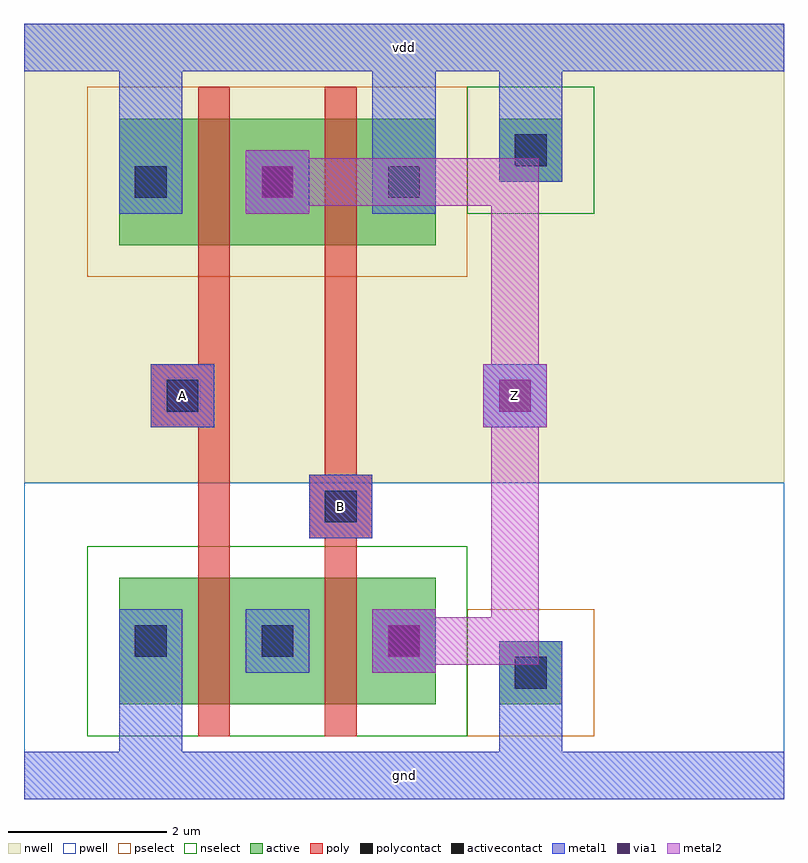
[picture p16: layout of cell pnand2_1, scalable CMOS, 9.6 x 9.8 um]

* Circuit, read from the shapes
.subckt pnand2_1 A B Z gnd vdd
M1 nmos_m1_w1_6_a_p_2/D A gnd gnd nfet w=1.6u l=0.4u
M2 Z B nmos_m1_w1_6_a_p_2/D gnd nfet w=1.6u l=0.4u
M3 Z A vdd vdd pfet w=1.6u l=0.4u
M4 vdd B Z vdd pfet w=1.6u l=0.4u
.ends

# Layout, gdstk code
from math import pi, radians
import gdstk
lib = gdstk.Library(unit=1e-6, precision=1e-09)
def R(c, l, rs):  # rectangles x0, y0, x1, y1
    for r in rs: c.add(gdstk.rectangle(r[:2], r[2:], *l))
pwell = (41, 0)
nwell = (42, 0)
active = (43, 0)
pselect = (44, 0)
nselect = (45, 0)
poly = (46, 0)
polycontact = (47, 0)
activecontact = (48, 0)
metal1 = (49, 0)
via1 = (50, 0)
metal2 = (51, 0)

active_contact_metal1_1x = lib.new_cell('active_contact_metal1_1x1_pn')
R(active_contact_metal1_1x, nwell, [(-1.2,-1.2,2,2)])
R(active_contact_metal1_1x, active, [(0,0,0.8,0.8)])
R(active_contact_metal1_1x, pselect, [(-0.4,-0.4,1.2,1.2)])
R(active_contact_metal1_1x, activecontact, [(0.2,0.2,0.6,0.6)])
R(active_contact_metal1_1x, metal1, [(0,0,0.8,0.8)])

pmos_m1_w1_6_a_p = lib.new_cell('pmos_m1_w1_6_a_p')
R(pmos_m1_w1_6_a_p, nwell, [(-1.2,-1.2,3.6,2.8)])
R(pmos_m1_w1_6_a_p, active, [(0,0,2.4,1.6)])
R(pmos_m1_w1_6_a_p, pselect, [(-0.4,-0.4,2.8,2)])
R(pmos_m1_w1_6_a_p, poly, [(1,-0.4,1.4,2), (1,-0.4,1.4,2)])
R(pmos_m1_w1_6_a_p, metal1, [(0,0.4,0.8,1.2), (1.6,0.4,2.4,1.2)])
pmos_m1_w1_6_a_p.add(gdstk.Reference(active_contact_metal1_1x, (0,0.4)))
pmos_m1_w1_6_a_p.add(gdstk.Reference(active_contact_metal1_1x, (1.6,0.4)))
pmos_m1_w1_6_a_p.add(gdstk.Label('G', (1.2,0.8), layer=46, texttype=0))
pmos_m1_w1_6_a_p.add(gdstk.Label('S', (0.4,0.8), layer=49, texttype=0))
pmos_m1_w1_6_a_p.add(gdstk.Label('D', (2,0.8), layer=49, texttype=0))

c_active_contact_metal1_1x = lib.new_cell('active_contact_metal1_1x1_np')
R(c_active_contact_metal1_1x, pwell, [(-1.2,-1.2,2,2)])
R(c_active_contact_metal1_1x, active, [(0,0,0.8,0.8)])
R(c_active_contact_metal1_1x, nselect, [(-0.4,-0.4,1.2,1.2)])
R(c_active_contact_metal1_1x, activecontact, [(0.2,0.2,0.6,0.6)])
R(c_active_contact_metal1_1x, metal1, [(0,0,0.8,0.8)])

nmos_m1_w1_6_a_p = lib.new_cell('nmos_m1_w1_6_a_p')
R(nmos_m1_w1_6_a_p, pwell, [(-1.2,-1.2,3.6,2.8)])
R(nmos_m1_w1_6_a_p, active, [(0,0,2.4,1.6)])
R(nmos_m1_w1_6_a_p, nselect, [(-0.4,-0.4,2.8,2)])
R(nmos_m1_w1_6_a_p, poly, [(1,-0.4,1.4,2), (1,-0.4,1.4,2)])
R(nmos_m1_w1_6_a_p, metal1, [(0,0.4,0.8,1.2), (1.6,0.4,2.4,1.2)])
nmos_m1_w1_6_a_p.add(gdstk.Reference(c_active_contact_metal1_1x, (0,0.4)))
nmos_m1_w1_6_a_p.add(gdstk.Reference(c_active_contact_metal1_1x, (1.6,0.4)))
nmos_m1_w1_6_a_p.add(gdstk.Label('G', (1.2,0.8), layer=46, texttype=0))
nmos_m1_w1_6_a_p.add(gdstk.Label('S', (0.4,0.8), layer=49, texttype=0))
nmos_m1_w1_6_a_p.add(gdstk.Label('D', (2,0.8), layer=49, texttype=0))

c_active_contact_metal1_1x_ = lib.new_cell('active_contact_metal1_1x1_nn')
R(c_active_contact_metal1_1x_, nwell, [(-1.2,-1.2,2,2)])
R(c_active_contact_metal1_1x_, active, [(0,0,0.8,0.8)])
R(c_active_contact_metal1_1x_, nselect, [(-0.4,-0.4,1.2,1.2)])
R(c_active_contact_metal1_1x_, activecontact, [(0.2,0.2,0.6,0.6)])
R(c_active_contact_metal1_1x_, metal1, [(0,0,0.8,0.8)])

c_active_contact_metal1_1x__ = lib.new_cell('active_contact_metal1_1x1_pp')
R(c_active_contact_metal1_1x__, pwell, [(-1.2,-1.2,2,2)])
R(c_active_contact_metal1_1x__, active, [(0,0,0.8,0.8)])
R(c_active_contact_metal1_1x__, pselect, [(-0.4,-0.4,1.2,1.2)])
R(c_active_contact_metal1_1x__, activecontact, [(0.2,0.2,0.6,0.6)])
R(c_active_contact_metal1_1x__, metal1, [(0,0,0.8,0.8)])

poly_contact_metal1_1x1 = lib.new_cell('poly_contact_metal1_1x1')
R(poly_contact_metal1_1x1, poly, [(0,0,0.8,0.8)])
R(poly_contact_metal1_1x1, polycontact, [(0.2,0.2,0.6,0.6)])
R(poly_contact_metal1_1x1, metal1, [(0,0,0.8,0.8)])

metal1_via1_metal2_1x1 = lib.new_cell('metal1_via1_metal2_1x1')
R(metal1_via1_metal2_1x1, metal1, [(0,0,0.8,0.8)])
R(metal1_via1_metal2_1x1, via1, [(0.2,0.2,0.6,0.6)])
R(metal1_via1_metal2_1x1, metal2, [(0,0,0.8,0.8)])

pnand2_1 = lib.new_cell('pnand2_1')
R(pnand2_1, pwell, [(0,-0.3,9.6,3.7)])
R(pnand2_1, nwell, [(0,3.7,9.6,9.5)])
R(pnand2_1, poly, [(2.2,0.5,2.6,6.3), (3.8,0.5,4.2,6.3), (3.8,3,4,3.8), (2,4.4,2.2,5.2)])
R(pnand2_1, metal1, [(0,-0.3,9.6,0.3), (1.2,-0.3,2,1.3), (6,0,6.8,1.3), (3.6,3,4.4,3.8), (1.6,4.4,2.4,5.2), (5.8,4.4,6.6,5.2), (1.2,7.1,2,9.5), (4.4,7.1,5.2,9.5), (6,7.9,6.8,9.2), (0,8.9,9.6,9.5)])
R(pnand2_1, metal2, [(4.8,1.4,6.2,2), (5.9,1.4,6.5,2), (5.9,1.7,6.5,4.8), (5.9,4.8,6.5,7.5), (3.2,7.2,6.2,7.8), (5.9,7.2,6.5,7.8)])
pnand2_1.add(gdstk.Reference(pmos_m1_w1_6_a_p, (1.2,6.7)))
pnand2_1.add(gdstk.Reference(pmos_m1_w1_6_a_p, (2.8,6.7)))
pnand2_1.add(gdstk.Reference(nmos_m1_w1_6_a_p, (1.2,0.9)))
pnand2_1.add(gdstk.Reference(nmos_m1_w1_6_a_p, (2.8,0.9)))
pnand2_1.add(gdstk.Reference(c_active_contact_metal1_1x_, (6,7.5)))
pnand2_1.add(gdstk.Reference(c_active_contact_metal1_1x__, (6,0.9)))
pnand2_1.add(gdstk.Reference(poly_contact_metal1_1x1, (4.4,3), rotation=pi/2))
pnand2_1.add(gdstk.Reference(poly_contact_metal1_1x1, (2.4,4.4), rotation=pi/2))
pnand2_1.add(gdstk.Reference(metal1_via1_metal2_1x1, (2.8,7.1)))
pnand2_1.add(gdstk.Reference(metal1_via1_metal2_1x1, (4.4,1.3)))
pnand2_1.add(gdstk.Reference(metal1_via1_metal2_1x1, (6.6,4.4), rotation=pi/2))
pnand2_1.add(gdstk.Label('gnd', (4.8,0), layer=49, texttype=0))
pnand2_1.add(gdstk.Label('vdd', (4.8,9.2), layer=49, texttype=0))
pnand2_1.add(gdstk.Label('B', (4,3.4), layer=49, texttype=0))
pnand2_1.add(gdstk.Label('A', (2,4.8), layer=49, texttype=0))
pnand2_1.add(gdstk.Label('Z', (6.2,4.8), layer=49, texttype=0))

lib.write_gds('pnand2_1.gds')
